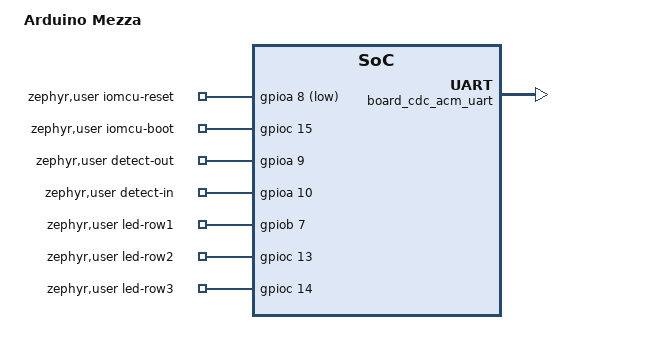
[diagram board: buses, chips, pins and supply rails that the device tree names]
/*
 * Copyright (c) 2026 Arduino SA
 *
 * SPDX-License-Identifier: Apache-2.0
 */

/dts-v1/;
#include "arduino_mezza_in-common.dtsi"

/ {
	model = "Arduino Mezza";
	compatible = "arduino,mezza";

	#address-cells = <1>;
	#size-cells = <1>;

	chosen {
		zephyr,console = &uart5;
		zephyr,shell-uart = &uart5;
		zephyr,sram = &sram1;
		zephyr,flash = &flash0;
		zephyr,code-partition = &slot0_partition;
	};

	zephyr,user {
		iomcu-reset-gpios = <&gpioa 8 GPIO_ACTIVE_LOW>;
		iomcu-boot-gpios = <&gpioc 15 GPIO_ACTIVE_HIGH>;
		detect-out-gpios = <&gpioa 9 GPIO_ACTIVE_HIGH>;
		detect-in-gpios = <&gpioa 10 GPIO_ACTIVE_HIGH>;
		led-row1-gpios = <&gpiob 7 GPIO_ACTIVE_HIGH>;
		led-row2-gpios = <&gpioc 13 GPIO_ACTIVE_HIGH>;
		led-row3-gpios = <&gpioa 15 GPIO_ACTIVE_HIGH>;
		led-row3-gpios = <&gpioc 14 GPIO_ACTIVE_HIGH>;
	};
};

&zephyr_udc0 {
	board_cdc_acm_uart: board_cdc_acm_uart {
		compatible = "zephyr,cdc-acm-uart";
		status = "okay";
	};
};
